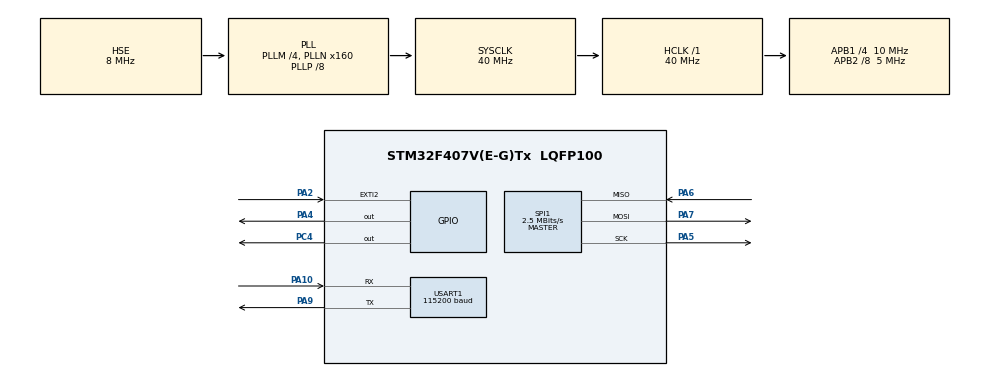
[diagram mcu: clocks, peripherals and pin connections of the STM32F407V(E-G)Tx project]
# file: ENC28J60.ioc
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Mcu.Family=STM32F4
Mcu.Name=STM32F407V(E-G)Tx
Mcu.Package=LQFP100
NVIC.EXTI2_IRQn=true\:0\:0\:false\:false\:true\:true\:true\:true
NVIC.PriorityGroup=NVIC_PRIORITYGROUP_4
NVIC.TIM2_IRQn=true\:0\:0\:false\:false\:true\:true\:true\:true
NVIC.USART1_IRQn=true\:0\:0\:false\:false\:true\:true\:true\:true
PA10.Mode=Asynchronous
PA10.Signal=USART1_RX
PA13.Mode=Serial_Wire
PA13.Signal=SYS_JTMS-SWDIO
PA14.Mode=Serial_Wire
PA14.Signal=SYS_JTCK-SWCLK
PA2.GPIO_ModeDefaultEXTI=GPIO_MODE_IT_FALLING
PA2.Signal=GPXTI2
PA4.GPIO_Speed=GPIO_SPEED_FREQ_MEDIUM
PA4.PinState=GPIO_PIN_RESET
PA4.Signal=GPIO_Output
PA5.Mode=Full_Duplex_Master
PA5.Signal=SPI1_SCK
PA6.Mode=Full_Duplex_Master
PA6.Signal=SPI1_MISO
PA7.Mode=Full_Duplex_Master
PA7.Signal=SPI1_MOSI
PA9.Mode=Asynchronous
PA9.Signal=USART1_TX
PC4.GPIO_Speed=GPIO_SPEED_FREQ_MEDIUM
PC4.PinState=GPIO_PIN_SET
PC4.Signal=GPIO_Output
PH0-OSC_IN.Mode=HSE-External-Oscillator
PH0-OSC_IN.Signal=RCC_OSC_IN
PH1-OSC_OUT.Mode=HSE-External-Oscillator
PH1-OSC_OUT.Signal=RCC_OSC_OUT
ProjectManager.HeapSize=0x200
ProjectManager.StackSize=0x400
ProjectManager.TargetToolchain=STM32CubeIDE
RCC.48MHZClocksFreq_Value=80000000
RCC.AHBFreq_Value=40000000
RCC.APB1CLKDivider=RCC_HCLK_DIV4
RCC.APB1Freq_Value=10000000
RCC.APB1TimFreq_Value=20000000
RCC.APB2CLKDivider=RCC_HCLK_DIV8
RCC.APB2Freq_Value=5000000
RCC.APB2TimFreq_Value=10000000
RCC.CortexFreq_Value=40000000
RCC.HCLKFreq_Value=40000000
RCC.HSE_VALUE=8000000
RCC.HSI_VALUE=16000000
RCC.LSE_VALUE=32768
RCC.PLLM=4
RCC.PLLN=160
RCC.PLLP=RCC_PLLP_DIV8
RCC.PLLSourceVirtual=RCC_PLLSOURCE_HSE
RCC.SYSCLKFreq_VALUE=40000000
RCC.SYSCLKSource=RCC_SYSCLKSOURCE_PLLCLK
RCC.VCOOutputFreq_Value=320000000
SPI1.BaudRatePrescaler=SPI_BAUDRATEPRESCALER_2
SPI1.CalculateBaudRate=2.5 MBits/s
SPI1.Direction=SPI_DIRECTION_2LINES
SPI1.Mode=SPI_MODE_MASTER
SPI1.VirtualType=VM_MASTER
TIM2.Period=1000
TIM2.Prescaler=39999
TIM2.TIM_MasterOutputTrigger=TIM_TRGO_UPDATE
USART1.BaudRate=115200
USART1.VirtualMode=VM_ASYNC
VP_TIM2_VS_ClockSourceINT.Mode=Internal
board=custom

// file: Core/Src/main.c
/* USER CODE BEGIN Header */
/**
 ******************************************************************************
 * @file           : main.c
 * @brief          : Main program body
 ******************************************************************************
 * @attention
 *
 * Copyright (c) 2022 STMicroelectronics.
 * All rights reserved.
 *
 * This software is licensed under terms that can be found in the LICENSE file
 * in the root directory of this software component.
 * If no LICENSE file comes with this software, it is provided AS-IS.
 *
 ******************************************************************************
 */
/* USER CODE END Header */
#include "main.h"

/* USER CODE BEGIN Includes */
#include "net.h"
#include "enc28j60.h"
#include <stdio.h>
#include <string.h>
/* USER CODE END Includes */

 SPI_HandleTypeDef hspi1;

TIM_HandleTypeDef htim2;

UART_HandleTypeDef huart1;

/* USER CODE BEGIN PV */
char str[20];
/* USER CODE END PV */

void SystemClock_Config(void);
static void MX_GPIO_Init(void);
static void MX_SPI1_Init(void);
static void MX_USART1_UART_Init(void);
static void MX_TIM2_Init(void);

/* USER CODE BEGIN 0 */
#ifdef __GNUC__
#define PUTCHAR_PROTOTYPE uint8_t __io_putchar(uint8_t ch)
#else
#define PUTCHAR_PROTOTYPE uint8_t fputc(uint8_t ch, FILE *f)
#endif

PUTCHAR_PROTOTYPE
{
	HAL_UART_Transmit(&huart1, (uint8_t*) &ch, 1, HAL_MAX_DELAY);
	return ch;
}
/* USER CODE END 0 */

int main(void)
{

  /* MCU Configuration--------------------------------------------------------*/

  /* Reset of all peripherals, Initializes the Flash interface and the Systick. */
  HAL_Init();

  /* Configure the system clock */
  SystemClock_Config();

  /* Initialize all configured peripherals */
  MX_GPIO_Init();
  MX_SPI1_Init();
  MX_USART1_UART_Init();
  MX_TIM2_Init();
  /* USER CODE BEGIN 2 */

	net_ini();
	HAL_UART_Receive_IT(&huart1, (uint8_t*) str, 1);
	HAL_TIM_Base_Start_IT(&htim2);
  /* USER CODE END 2 */

  /* Infinite loop */
	while (1)
	{

	}
}

void SystemClock_Config(void)
{
  RCC_OscInitTypeDef RCC_OscInitStruct = {0};
  RCC_ClkInitTypeDef RCC_ClkInitStruct = {0};

  /** Configure the main internal regulator output voltage
  */
  __HAL_RCC_PWR_CLK_ENABLE();
  __HAL_PWR_VOLTAGESCALING_CONFIG(PWR_REGULATOR_VOLTAGE_SCALE1);

  /** Initializes the RCC Oscillators according to the specified parameters
  * in the RCC_OscInitTypeDef structure.
  */
  RCC_OscInitStruct.OscillatorType = RCC_OSCILLATORTYPE_HSE;
  RCC_OscInitStruct.HSEState = RCC_HSE_ON;
  RCC_OscInitStruct.PLL.PLLState = RCC_PLL_ON;
  RCC_OscInitStruct.PLL.PLLSource = RCC_PLLSOURCE_HSE;
  RCC_OscInitStruct.PLL.PLLM = 4;
  RCC_OscInitStruct.PLL.PLLN = 160;
  RCC_OscInitStruct.PLL.PLLP = RCC_PLLP_DIV8;
  RCC_OscInitStruct.PLL.PLLQ = 4;
  if (HAL_RCC_OscConfig(&RCC_OscInitStruct) != HAL_OK)
  {
    Error_Handler();
  }

  /** Initializes the CPU, AHB and APB buses clocks
  */
  RCC_ClkInitStruct.ClockType = RCC_CLOCKTYPE_HCLK|RCC_CLOCKTYPE_SYSCLK
                              |RCC_CLOCKTYPE_PCLK1|RCC_CLOCKTYPE_PCLK2;
  RCC_ClkInitStruct.SYSCLKSource = RCC_SYSCLKSOURCE_PLLCLK;
  RCC_ClkInitStruct.AHBCLKDivider = RCC_SYSCLK_DIV1;
  RCC_ClkInitStruct.APB1CLKDivider = RCC_HCLK_DIV4;
  RCC_ClkInitStruct.APB2CLKDivider = RCC_HCLK_DIV8;

  if (HAL_RCC_ClockConfig(&RCC_ClkInitStruct, FLASH_LATENCY_1) != HAL_OK)
  {
    Error_Handler();
  }
}

static void MX_SPI1_Init(void)
{

  /* SPI1 parameter configuration*/
  hspi1.Instance = SPI1;
  hspi1.Init.Mode = SPI_MODE_MASTER;
  hspi1.Init.Direction = SPI_DIRECTION_2LINES;
  hspi1.Init.DataSize = SPI_DATASIZE_8BIT;
  hspi1.Init.CLKPolarity = SPI_POLARITY_LOW;
  hspi1.Init.CLKPhase = SPI_PHASE_1EDGE;
  hspi1.Init.NSS = SPI_NSS_SOFT;
  hspi1.Init.BaudRatePrescaler = SPI_BAUDRATEPRESCALER_2;
  hspi1.Init.FirstBit = SPI_FIRSTBIT_MSB;
  hspi1.Init.TIMode = SPI_TIMODE_DISABLE;
  hspi1.Init.CRCCalculation = SPI_CRCCALCULATION_DISABLE;
  hspi1.Init.CRCPolynomial = 10;
  if (HAL_SPI_Init(&hspi1) != HAL_OK)
  {
    Error_Handler();
  }

}

static void MX_TIM2_Init(void)
{

  TIM_ClockConfigTypeDef sClockSourceConfig = {0};
  TIM_MasterConfigTypeDef sMasterConfig = {0};

  htim2.Instance = TIM2;
  htim2.Init.Prescaler = 39999;
  htim2.Init.CounterMode = TIM_COUNTERMODE_UP;
  htim2.Init.Period = 1000;
  htim2.Init.ClockDivision = TIM_CLOCKDIVISION_DIV1;
  htim2.Init.AutoReloadPreload = TIM_AUTORELOAD_PRELOAD_DISABLE;
  if (HAL_TIM_Base_Init(&htim2) != HAL_OK)
  {
    Error_Handler();
  }
  sClockSourceConfig.ClockSource = TIM_CLOCKSOURCE_INTERNAL;
  if (HAL_TIM_ConfigClockSource(&htim2, &sClockSourceConfig) != HAL_OK)
  {
    Error_Handler();
  }
  sMasterConfig.MasterOutputTrigger = TIM_TRGO_UPDATE;
  sMasterConfig.MasterSlaveMode = TIM_MASTERSLAVEMODE_DISABLE;
  if (HAL_TIMEx_MasterConfigSynchronization(&htim2, &sMasterConfig) != HAL_OK)
  {
    Error_Handler();
  }

}

static void MX_USART1_UART_Init(void)
{

  huart1.Instance = USART1;
  huart1.Init.BaudRate = 115200;
  huart1.Init.WordLength = UART_WORDLENGTH_8B;
  huart1.Init.StopBits = UART_STOPBITS_1;
  huart1.Init.Parity = UART_PARITY_NONE;
  huart1.Init.Mode = UART_MODE_TX_RX;
  huart1.Init.HwFlowCtl = UART_HWCONTROL_NONE;
  huart1.Init.OverSampling = UART_OVERSAMPLING_16;
  if (HAL_UART_Init(&huart1) != HAL_OK)
  {
    Error_Handler();
  }

}

static void MX_GPIO_Init(void)
{
  GPIO_InitTypeDef GPIO_InitStruct = {0};

  /* GPIO Ports Clock Enable */
  __HAL_RCC_GPIOH_CLK_ENABLE();
  __HAL_RCC_GPIOA_CLK_ENABLE();
  __HAL_RCC_GPIOC_CLK_ENABLE();

  /*Configure GPIO pin Output Level */
  HAL_GPIO_WritePin(GPIOA, GPIO_PIN_4, GPIO_PIN_RESET);

  /*Configure GPIO pin Output Level */
  HAL_GPIO_WritePin(GPIOC, GPIO_PIN_4, GPIO_PIN_SET);

  /*Configure GPIO pin : PA2 */
  GPIO_InitStruct.Pin = GPIO_PIN_2;
  GPIO_InitStruct.Mode = GPIO_MODE_IT_FALLING;
  GPIO_InitStruct.Pull = GPIO_NOPULL;
  HAL_GPIO_Init(GPIOA, &GPIO_InitStruct);

  /*Configure GPIO pin : PA4 */
  GPIO_InitStruct.Pin = GPIO_PIN_4;
  GPIO_InitStruct.Mode = GPIO_MODE_OUTPUT_PP;
  GPIO_InitStruct.Pull = GPIO_NOPULL;
  GPIO_InitStruct.Speed = GPIO_SPEED_FREQ_MEDIUM;
  HAL_GPIO_Init(GPIOA, &GPIO_InitStruct);

  /*Configure GPIO pin : PC4 */
  GPIO_InitStruct.Pin = GPIO_PIN_4;
  GPIO_InitStruct.Mode = GPIO_MODE_OUTPUT_PP;
  GPIO_InitStruct.Pull = GPIO_NOPULL;
  GPIO_InitStruct.Speed = GPIO_SPEED_FREQ_MEDIUM;
  HAL_GPIO_Init(GPIOC, &GPIO_InitStruct);

  /* EXTI interrupt init*/
  HAL_NVIC_SetPriority(EXTI2_IRQn, 0, 0);
  HAL_NVIC_EnableIRQ(EXTI2_IRQn);

}

/* USER CODE BEGIN 4 */
void HAL_UART_RxCpltCallback(UART_HandleTypeDef *huart)
{
	if (huart == &huart1)
	{
		UART1_RxCpltCallback();
	}
}
//--------------------------------------------
void HAL_GPIO_EXTI_Callback(uint16_t GPIO_Pin)
{
	if (GPIO_Pin == GPIO_PIN_2)
	{
		net_poll();
	}
	else
	{
		__NOP();
	}
}
/* USER CODE END 4 */

void Error_Handler(void)
{
	__disable_irq();
	while (1)
	{
	}
}
